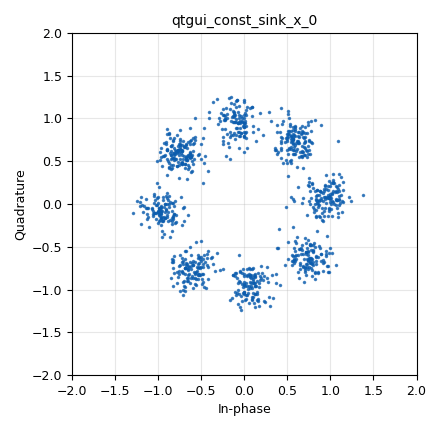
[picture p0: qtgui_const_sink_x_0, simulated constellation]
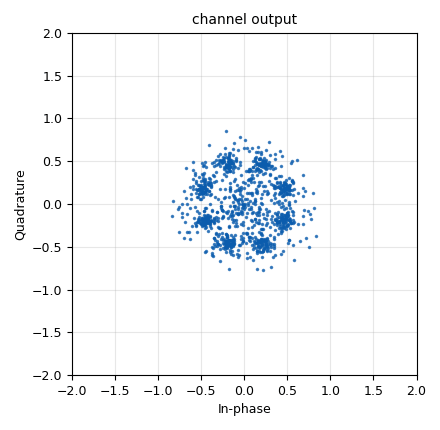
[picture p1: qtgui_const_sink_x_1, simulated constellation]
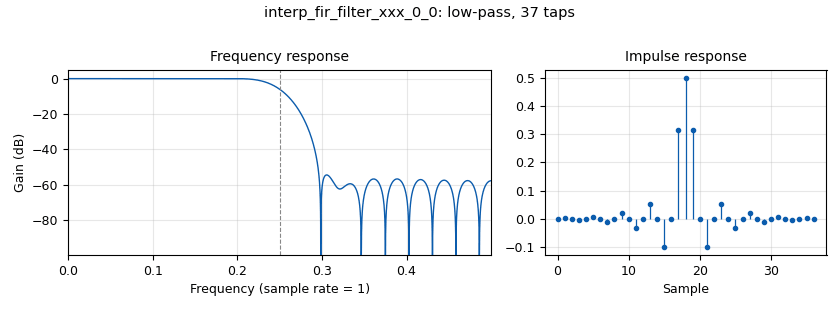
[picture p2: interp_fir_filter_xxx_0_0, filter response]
<?xml version='1.0' encoding='utf-8'?>
<?grc format='1' created='3.7.12'?>
<flow_graph>
<block>
<key>options</key>
<param><key>id</key><value>cma_watterson_experiment</value></param>
<param><key>author</key><value>Noel Teku, Garrett Vanhoy</value></param>
<param><key>generate_options</key><value>qt_gui</value></param>
<param><key>title</key><value>CMA Watterson Experiment</value></param>
</block>
<block>
<key>variable_constellation</key>
<param><key>id</key><value>const</value></param>
<param><key>type</key><value>8psk</value></param>
<param><key>precision</key><value>8</value></param>
</block>
<block>
<key>variable</key>
<param><key>id</key><value>num_symbols</value></param>
<param><key>value</key><value>1024</value></param>
</block>
<block>
<key>variable</key>
<param><key>id</key><value>samp_rate</value></param>
<param><key>value</key><value>1000000</value></param>
</block>
<block>
<key>variable</key>
<param><key>id</key><value>snr_db</value></param>
<param><key>value</key><value>10</value></param>
</block>
<block>
<key>analog_random_source_x</key>
<param><key>id</key><value>analog_random_source_x_1</value></param>
<param><key>max</key><value>const.arity()</value></param>
<param><key>min</key><value>0</value></param>
<param><key>num_samps</key><value>1000</value></param>
<param><key>type</key><value>byte</value></param>
<param><key>repeat</key><value>True</value></param>
</block>
<block>
<key>blocks_head</key>
<param><key>id</key><value>blocks_head_0</value></param>
<param><key>num_items</key><value>num_symbols</value></param>
<param><key>type</key><value>complex</value></param>
</block>
<block>
<key>blocks_vector_sink_x</key>
<param><key>id</key><value>blocks_vector_sink_x_0</value></param>
<param><key>type</key><value>complex</value></param>
</block>
<block>
<key>channels_channel_model</key>
<param><key>id</key><value>channels_channel_model_0</value></param>
<param><key>epsilon</key><value>1.0</value></param>
<param><key>freq_offset</key><value>0.0</value></param>
<param><key>noise_voltage</key><value>10**(-snr_db/20)/numpy.sqrt(2)</value></param>
<param><key>seed</key><value>0</value></param>
<param><key>taps</key><value>1</value></param>
</block>
<block>
<key>digital_chunks_to_symbols_xx</key>
<param><key>id</key><value>digital_chunks_to_symbols_xx_1</value></param>
<param><key>dimension</key><value>1</value></param>
<param><key>in_type</key><value>byte</value></param>
<param><key>out_type</key><value>complex</value></param>
<param><key>symbol_table</key><value>const.points()</value></param>
</block>
<block>
<key>digital_cma_equalizer_cc</key>
<param><key>id</key><value>digital_cma_equalizer_cc_0</value></param>
<param><key>mu</key><value>1</value></param>
<param><key>modulus</key><value>1</value></param>
<param><key>num_taps</key><value>2</value></param>
<param><key>sps</key><value>2</value></param>
</block>
<block>
<key>interp_fir_filter_xxx</key>
<param><key>id</key><value>interp_fir_filter_xxx_0_0</value></param>
<param><key>interp</key><value>2</value></param>
<param><key>taps</key><value>firdes.low_pass_2(1, 1, .25, .1, 80)</value></param>
<param><key>type</key><value>ccc</value></param>
</block>
<block>
<key>import</key>
<param><key>id</key><value>numpy</value></param>
<param><key>import</key><value>import numpy</value></param>
</block>
<block>
<key>qtgui_const_sink_x</key>
<param><key>id</key><value>qtgui_const_sink_x_0</value></param>
<param><key>size</key><value>1024</value></param>
<param><key>type</key><value>complex</value></param>
</block>
<block>
<key>qtgui_const_sink_x</key>
<param><key>id</key><value>qtgui_const_sink_x_1</value></param>
<param><key>name</key><value>"channel output"</value></param>
<param><key>size</key><value>1024</value></param>
<param><key>type</key><value>complex</value></param>
</block>
<block>
<key>import</key>
<param><key>id</key><value>watterson</value></param>
<param><key>import</key><value>from hf.gen_watterson_taps import gen_taps </value></param>
</block>
<connection><source_block_id>analog_random_source_x_1</source_block_id><sink_block_id>digital_chunks_to_symbols_xx_1</sink_block_id><source_key>0</source_key><sink_key>0</sink_key></connection>
<connection><source_block_id>blocks_head_0</source_block_id><sink_block_id>blocks_vector_sink_x_0</sink_block_id><source_key>0</source_key><sink_key>0</sink_key></connection>
<connection><source_block_id>channels_channel_model_0</source_block_id><sink_block_id>digital_cma_equalizer_cc_0</sink_block_id><source_key>0</source_key><sink_key>0</sink_key></connection>
<connection><source_block_id>channels_channel_model_0</source_block_id><sink_block_id>qtgui_const_sink_x_1</sink_block_id><source_key>0</source_key><sink_key>0</sink_key></connection>
<connection><source_block_id>digital_chunks_to_symbols_xx_1</source_block_id><sink_block_id>interp_fir_filter_xxx_0_0</sink_block_id><source_key>0</source_key><sink_key>0</sink_key></connection>
<connection><source_block_id>digital_cma_equalizer_cc_0</source_block_id><sink_block_id>blocks_head_0</sink_block_id><source_key>0</source_key><sink_key>0</sink_key></connection>
<connection><source_block_id>digital_cma_equalizer_cc_0</source_block_id><sink_block_id>qtgui_const_sink_x_0</sink_block_id><source_key>0</source_key><sink_key>0</sink_key></connection>
<connection><source_block_id>interp_fir_filter_xxx_0_0</source_block_id><sink_block_id>channels_channel_model_0</sink_block_id><source_key>0</source_key><sink_key>0</sink_key></connection>
</flow_graph>
